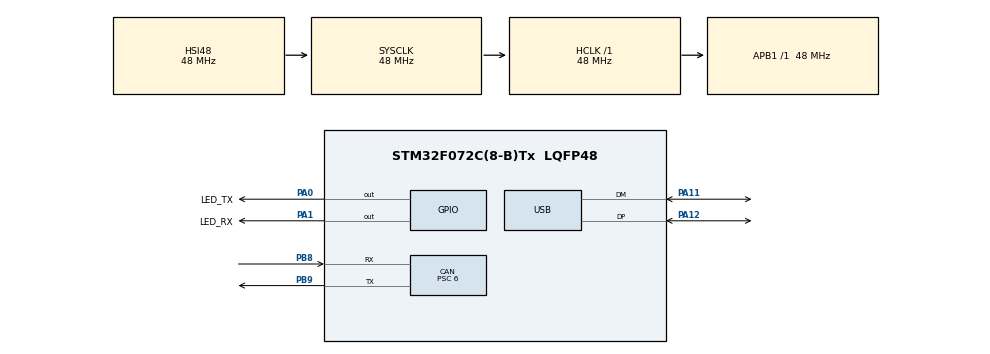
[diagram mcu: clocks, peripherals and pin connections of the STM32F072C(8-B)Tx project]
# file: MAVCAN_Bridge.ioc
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CAN.ABOM=ENABLE
CAN.BS1=CAN_BS1_5TQ
CAN.BS2=CAN_BS2_2TQ
CAN.CalculateBaudRate=1000000
CAN.CalculateTimeBit=1000
CAN.CalculateTimeQuantum=125.0
CAN.NART=DISABLE
CAN.Prescaler=6
CAN.TXFP=ENABLE
Mcu.Family=STM32F0
Mcu.Name=STM32F072C(8-B)Tx
Mcu.Package=LQFP48
NVIC.CEC_CAN_IRQn=true\:2\:0\:true\:false\:true\:true\:true\:true
NVIC.TIM1_BRK_UP_TRG_COM_IRQn=true\:3\:0\:false\:false\:true\:false\:true\:true
NVIC.TimeBase=TIM1_BRK_UP_TRG_COM_IRQn
NVIC.TimeBaseIP=TIM1
NVIC.USB_IRQn=true\:2\:0\:true\:false\:true\:false\:true\:true
PA0.GPIO_Label=LED_TX
PA0.Signal=GPIO_Output
PA1.GPIO_Label=LED_RX
PA1.Signal=GPIO_Output
PA11.Mode=Device
PA11.Signal=USB_DM
PA12.Mode=Device
PA12.Signal=USB_DP
PA13.Mode=Serial_Wire
PA13.Signal=SYS_SWDIO
PA14.Mode=Serial_Wire
PA14.Signal=SYS_SWCLK
PB8.Mode=CAN_Activate
PB8.Signal=CAN_RX
PB9.Mode=CAN_Activate
PB9.Signal=CAN_TX
ProjectManager.HeapSize=0x200
ProjectManager.StackSize=0x400
ProjectManager.TargetToolchain=CMake
RCC.AHBFreq_Value=48000000
RCC.APB1Freq_Value=48000000
RCC.APB1TimFreq_Value=48000000
RCC.HCLKFreq_Value=48000000
RCC.SYSCLKFreq_VALUE=48000000
RCC.SYSCLKSource=RCC_SYSCLKSOURCE_HSI48
USB_DEVICE.CLASS_NAME_FS=CDC
USB_DEVICE.CONFIGURATION_STRING_CDC_FS=Mavlink-CAN Config
USB_DEVICE.INTERFACE_STRING_CDC_FS=Mavlink-CAN Interface
USB_DEVICE.MANUFACTURER_STRING=Vimdrones Inc Limited
USB_DEVICE.PID_CDC_FS=0x5738
USB_DEVICE.PRODUCT_STRING_CDC_FS=MAVCAN USB Bridge
USB_DEVICE.VID=0x1209
USB_DEVICE.VirtualMode=Cdc
USB_DEVICE.VirtualModeFS=Cdc_FS
VP_SYS_VS_tim1.Mode=TIM1
VP_USB_DEVICE_VS_USB_DEVICE_CDC_FS.Mode=CDC_FS
board=custom

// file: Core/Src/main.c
/* USER CODE BEGIN Header */
/**
  ******************************************************************************
  *
  * Copyright (c) 2025 Vimdrones.
  * All rights reserved.
  *
  * @author         : Huibean Luo
  * @email          : huibean.luo@vimdrones.com
  *
  ******************************************************************************
  */
/* USER CODE END Header */
#include "main.h"
#include "usb_device.h"

/* USER CODE BEGIN Includes */
#include <mavlink.h>
#include "app_config.h" // Include the shared config file
#include "usbd_cdc_if.h" // Add this line for CDC functions
// #include <dronecan_msgs.h>
extern USBD_HandleTypeDef hUsbDeviceFS;
/* USER CODE END Includes */

/* USER CODE BEGIN PD */

// Define a short timeout for waiting on TX mailbox
#define CAN_TX_TIMEOUT_MS 5
/* USER CODE END PD */

CAN_HandleTypeDef hcan;

/* USER CODE BEGIN PV */
// MAVLink variables
uint8_t mav_system_id = 1;
uint8_t mav_component_id = 1;

// Heartbeat tracking
uint32_t last_heartbeat_time = 0;
uint32_t heartbeat_interval = 1000; // 1Hz heartbeat
uint32_t heartbeats_sent = 0;

// USB ring buffer for reliable Windows reception
typedef struct {
  uint8_t data[USB_RX_PACKET_SIZE];
  uint32_t len;
} usb_packet_t;

usb_packet_t usb_rx_ring[USB_RX_RING_SIZE];
volatile uint8_t usb_rx_write_idx = 0;
volatile uint8_t usb_rx_read_idx = 0;
volatile uint8_t usb_rx_packets = 0;

volatile uint32_t usb_process_interval;
volatile uint32_t last_usb_process_time = 0;

// CAN frame structure
typedef struct {
  uint32_t id;        // CAN frame ID (standard or extended)
  uint8_t is_extended; // Flag for extended ID
  uint8_t is_rtr;     // Flag for remote transmission request
  uint8_t dlc;        // Data length code (0-8)
  uint8_t data[8];    // CAN frame data
} can_frame_t;

// Ring buffers for CAN frames
#define CAN_BUFFER_SIZE 128
volatile can_frame_t can_rx_buffer[CAN_BUFFER_SIZE];
volatile uint8_t can_rx_write_idx = 0;
volatile uint8_t can_rx_read_idx = 0;
volatile uint8_t can_rx_count = 0;

volatile can_frame_t can_tx_buffer[CAN_BUFFER_SIZE];
volatile uint8_t can_tx_write_idx = 0;
volatile uint8_t can_tx_read_idx = 0;
volatile uint8_t can_tx_count = 0;

// Processing flags
volatile uint8_t usb_to_can_pending = 0;
volatile uint8_t can_to_usb_pending = 0;

// Status tracking
uint32_t rx_frames_count = 0;
uint32_t tx_frames_count = 0;
uint32_t mavlink_rx_count = 0;
uint32_t mavlink_tx_count = 0;
uint32_t buffer_overflow_count = 0;

/* USER CODE END PV */

void SystemClock_Config(void);
static void MX_GPIO_Init(void);
static void MX_CAN_Init(void);
/* USER CODE BEGIN PFP */
uint32_t ProcessUSBtoCAN(void);
uint32_t ProcessCANtoUSB(void);
uint32_t SendCAN(void);
void SendMavlinkHeartbeat(void);
/* USER CODE END PFP */

/* USER CODE BEGIN 0 */
// Pre-compute MAVLink CRC tables for better performance
static void mavlink_init_crc_tables(void) {
  // Initialize MAVLink CRC tables - forces table creation at startup instead of runtime
  uint16_t dummy_crc = crc_calculate((uint8_t*)"test", 4);
  (void)dummy_crc; // Prevent unused variable warning
}
/* USER CODE END 0 */

int main(void)
{

  /* MCU Configuration--------------------------------------------------------*/

  /* Reset of all peripherals, Initializes the Flash interface and the Systick. */
  HAL_Init();

  /* Configure the system clock */
  SystemClock_Config();

  /* Initialize all configured peripherals */
  MX_GPIO_Init();
  MX_CAN_Init();
  MX_USB_DEVICE_Init();
  /* USER CODE BEGIN 2 */
  // Precompute MAVLink CRC tables
  mavlink_init_crc_tables();

  // Rest of initialization...
  // Enable CAN interrupts
  if (HAL_CAN_Start(&hcan) != HAL_OK) {
    Error_Handler();
  }

  // Activate CAN RX notification
  if (HAL_CAN_ActivateNotification(&hcan, CAN_IT_RX_FIFO0_MSG_PENDING) != HAL_OK) {
    Error_Handler();
  }

  // Initialize ring buffers
  can_rx_write_idx = 0;
  can_rx_read_idx = 0;
  can_tx_write_idx = 0;
  can_tx_read_idx = 0;

  // The CDC middleware prepares reception when the host configures USB.
  /* USER CODE END 2 */

  /* Infinite loop */
  while (1)
  {

    /* USER CODE BEGIN 3 */
    // Get current time once per loop
    uint32_t current_time = HAL_GetTick();

    // Retry a paused receive after space or the USB configured state returns.
    CDC_ResumeReceive_FS();

    // Process USB data when available
    while (usb_rx_packets > 0) {
        ProcessUSBtoCAN();

        // Send frames immediately after processing
        if (can_tx_count > 0) {
            SendCAN(); // Send one frame immediately
        }
    }

    // Process CAN TX queue - up to 8 frames at once
    if (can_tx_count > 0) {
        for (int i = 0; i < 8 && can_tx_count > 0; i++) {
            uint32_t sent = SendCAN();
            if (sent == 0) break;
        }
    }

    // Send MAVLink heartbeat at 1Hz
    if (current_time - last_heartbeat_time >= heartbeat_interval) {
      SendMavlinkHeartbeat();
      last_heartbeat_time = current_time;
    }

    // Process CAN RX with lowest priority
    if (can_rx_count > 0) {
      ProcessCANtoUSB();
    }
  }
  /* USER CODE END 3 */
}

void SystemClock_Config(void)
{
  RCC_OscInitTypeDef RCC_OscInitStruct = {0};
  RCC_ClkInitTypeDef RCC_ClkInitStruct = {0};
  RCC_PeriphCLKInitTypeDef PeriphClkInit = {0};

  /** Initializes the RCC Oscillators according to the specified parameters
  * in the RCC_OscInitTypeDef structure.
  */
  RCC_OscInitStruct.OscillatorType = RCC_OSCILLATORTYPE_HSI48;
  RCC_OscInitStruct.HSI48State = RCC_HSI48_ON;
  RCC_OscInitStruct.PLL.PLLState = RCC_PLL_NONE;
  if (HAL_RCC_OscConfig(&RCC_OscInitStruct) != HAL_OK)
  {
    Error_Handler();
  }

  /** Initializes the CPU, AHB and APB buses clocks
  */
  RCC_ClkInitStruct.ClockType = RCC_CLOCKTYPE_HCLK|RCC_CLOCKTYPE_SYSCLK
                              |RCC_CLOCKTYPE_PCLK1;
  RCC_ClkInitStruct.SYSCLKSource = RCC_SYSCLKSOURCE_HSI48;
  RCC_ClkInitStruct.AHBCLKDivider = RCC_SYSCLK_DIV1;
  RCC_ClkInitStruct.APB1CLKDivider = RCC_HCLK_DIV1;

  if (HAL_RCC_ClockConfig(&RCC_ClkInitStruct, FLASH_LATENCY_1) != HAL_OK)
  {
    Error_Handler();
  }
  PeriphClkInit.PeriphClockSelection = RCC_PERIPHCLK_USB;
  PeriphClkInit.UsbClockSelection = RCC_USBCLKSOURCE_HSI48;

  if (HAL_RCCEx_PeriphCLKConfig(&PeriphClkInit) != HAL_OK)
  {
    Error_Handler();
  }
}

static void MX_CAN_Init(void)
{

  hcan.Instance = CAN;
  hcan.Init.Prescaler = 6;
  hcan.Init.Mode = CAN_MODE_NORMAL;
  hcan.Init.SyncJumpWidth = CAN_SJW_1TQ;
  hcan.Init.TimeSeg1 = CAN_BS1_5TQ;
  hcan.Init.TimeSeg2 = CAN_BS2_2TQ;
  hcan.Init.TimeTriggeredMode = DISABLE;
  hcan.Init.AutoBusOff = ENABLE;
  hcan.Init.AutoWakeUp = DISABLE;
  hcan.Init.AutoRetransmission = DISABLE;
  hcan.Init.ReceiveFifoLocked = DISABLE;
  hcan.Init.TransmitFifoPriority = ENABLE;
  if (HAL_CAN_Init(&hcan) != HAL_OK)
  {
    Error_Handler();
  }
  /* USER CODE BEGIN CAN_Init 2 */
  // Configure CAN filter to accept all messages
  CAN_FilterTypeDef canFilterConfig;
  canFilterConfig.FilterBank = 0;
  canFilterConfig.FilterMode = CAN_FILTERMODE_IDMASK;
  canFilterConfig.FilterScale = CAN_FILTERSCALE_32BIT;
  canFilterConfig.FilterIdHigh = 0;
  canFilterConfig.FilterIdLow = 0;
  canFilterConfig.FilterMaskIdHigh = 0;
  canFilterConfig.FilterMaskIdLow = 0;
  canFilterConfig.FilterFIFOAssignment = CAN_FILTER_FIFO0;
  canFilterConfig.FilterActivation = ENABLE;

  if (HAL_CAN_ConfigFilter(&hcan, &canFilterConfig) != HAL_OK)
  {
    Error_Handler();
  }
  /* USER CODE END CAN_Init 2 */

}

static void MX_GPIO_Init(void)
{
  GPIO_InitTypeDef GPIO_InitStruct = {0};

  /* GPIO Ports Clock Enable */
  __HAL_RCC_GPIOA_CLK_ENABLE();
  __HAL_RCC_GPIOB_CLK_ENABLE();

  /*Configure GPIO pin Output Level */
  HAL_GPIO_WritePin(GPIOA, LED_TX_Pin|LED_RX_Pin, GPIO_PIN_RESET);

  /*Configure GPIO pins : LED_TX_Pin LED_RX_Pin */
  GPIO_InitStruct.Pin = LED_TX_Pin|LED_RX_Pin;
  GPIO_InitStruct.Mode = GPIO_MODE_OUTPUT_PP;
  GPIO_InitStruct.Pull = GPIO_NOPULL;
  GPIO_InitStruct.Speed = GPIO_SPEED_FREQ_LOW;
  HAL_GPIO_Init(GPIOA, &GPIO_InitStruct);

}

/* USER CODE BEGIN 4 */
/**
 * @brief CAN RX FIFO 0 callback
 * @param hcan: CAN handle pointer
 */
void HAL_CAN_RxFifo0MsgPendingCallback(CAN_HandleTypeDef *hcan)
{
  CAN_RxHeaderTypeDef rxHeader;
  uint8_t rxData[8];

  // Get the message from CAN FIFO
  if (HAL_CAN_GetRxMessage(hcan, CAN_RX_FIFO0, &rxHeader, rxData) == HAL_OK) {
    // Check if there's space in the buffer
    if (can_rx_count < CAN_BUFFER_SIZE) {
      // Store the frame in the circular buffer
      can_frame_t *frame = (can_frame_t *)&can_rx_buffer[can_rx_write_idx];

      // Extract ID information
      if (rxHeader.IDE == CAN_ID_STD) {
        frame->id = rxHeader.StdId;
        frame->is_extended = 0;
      } else {
        frame->id = rxHeader.ExtId;
        frame->is_extended = 1;
      }

      // Extract RTR flag and data
      frame->is_rtr = (rxHeader.RTR == CAN_RTR_REMOTE) ? 1 : 0;
      frame->dlc = rxHeader.DLC;

      if (rxHeader.RTR != CAN_RTR_REMOTE) {
        memcpy((void*)frame->data, rxData, frame->dlc);
      }

      // Update indexes and counter with atomic operations
      __disable_irq();
      can_rx_write_idx = (can_rx_write_idx + 1) % CAN_BUFFER_SIZE;
      can_rx_count++;
      can_to_usb_pending = 1;
      __enable_irq();

      // Toggle LED to indicate reception
      HAL_GPIO_TogglePin(GPIOA, LED_RX_Pin);
      rx_frames_count++;
    } else {
      // Buffer is full
      buffer_overflow_count++;
    }
  }
}

/**
 * @brief Process USB to CAN data
 * @retval Number of processed bytes
 */
uint32_t ProcessUSBtoCAN(void)
{
  static mavlink_message_t msg;
  static mavlink_status_t status;
  uint32_t processed = 0;

  // USB reset/deinit can clear the queue, so check and dequeue atomically.
  usb_packet_t packet;
  uint32_t primask = __get_PRIMASK();
  __disable_irq();
  if (usb_rx_packets == 0) {
    __set_PRIMASK(primask);
    return 0;
  }
  memcpy(&packet, (void*)&usb_rx_ring[usb_rx_read_idx], sizeof(usb_packet_t));
  usb_rx_read_idx = (usb_rx_read_idx + 1) % USB_RX_RING_SIZE;
  usb_rx_packets--;
  __set_PRIMASK(primask);

  CDC_ResumeReceive_FS();

  uint32_t bytes = packet.len;

  // Process in chunks for cache efficiency
  for (uint32_t i = 0; i < bytes; ) {
    // Process up to 16 bytes at once
    uint32_t chunk_end = i + 16;
    if (chunk_end > bytes) chunk_end = bytes;

    for (; i < chunk_end; i++) {
      if (mavlink_parse_char(MAVLINK_COMM_0, packet.data[i], &msg, &status)) {
        mavlink_rx_count++;

        if (msg.msgid == MAVLINK_MSG_ID_CAN_FRAME) {
          // Extract directly to minimize copies
          mavlink_can_frame_t can_frame;
          mavlink_msg_can_frame_decode(&msg, &can_frame);

          if (can_tx_count < CAN_BUFFER_SIZE) {
            uint8_t idx = can_tx_write_idx;
            volatile can_frame_t *frame = &can_tx_buffer[idx];

            // Fast extractions
            frame->id = can_frame.id & 0x1FFFFFFF;
            frame->is_extended = (can_frame.id & 0x80000000) ? 1 : 0;
            frame->is_rtr = (can_frame.id & 0x40000000) ? 1 : 0;
            frame->dlc = can_frame.len <= 8 ? can_frame.len : 8;

            if (!frame->is_rtr && frame->dlc > 0) {
              // Direct memcpy to avoid for loop
              memcpy((void*)frame->data, can_frame.data, frame->dlc);
            }

            // Preserve the caller's interrupt state while publishing the frame.
            uint32_t can_primask = __get_PRIMASK();
            __disable_irq();
            can_tx_write_idx = (idx + 1) % CAN_BUFFER_SIZE;
            can_tx_count++;
            __set_PRIMASK(can_primask);
          }
        }
      }
    }
  }

  processed = bytes;
  return processed;
}

/**
 * @brief Process CAN to USB data
 * @retval Number of frames processed
 */
uint32_t ProcessCANtoUSB(void)
{
  uint32_t processed = 0;
  mavlink_message_t msg;
  uint8_t mavlink_buffer[MAVLINK_MAX_PACKET_LEN];

  // Process all available CAN frames
  while (can_rx_count > 0) {
    can_frame_t frame;

    // Get the frame from the buffer atomically
    __disable_irq();
    memcpy(&frame, (void*)&can_rx_buffer[can_rx_read_idx], sizeof(can_frame_t));
    can_rx_read_idx = (can_rx_read_idx + 1) % CAN_BUFFER_SIZE;
    can_rx_count--;
    __enable_irq();

    // Create MAVLink CAN_FRAME message
    uint32_t frame_id = frame.id;

    // Add extended ID flag if needed
    if (frame.is_extended) {
      frame_id |= 0x80000000;
    }

    // Add RTR flag if needed
    if (frame.is_rtr) {
      frame_id |= 0x40000000;
    }

    // Pack the MAVLink message
    mavlink_msg_can_frame_pack(
      mav_system_id,
      mav_component_id,
      &msg,
      0,
      0,
      0,
      frame.dlc,
      frame_id,
      frame.data
    );

    // Get the buffer to send
    uint16_t mavlink_len = mavlink_msg_to_send_buffer(mavlink_buffer, &msg);

    // Send over USB
    if (USBD_STATE_CONFIGURED == hUsbDeviceFS.dev_state) {
      if (CDC_Transmit_FS(mavlink_buffer, mavlink_len) == USBD_OK) {
        mavlink_tx_count++;
      }
    }

    processed++;
  }

  return processed;
}

/**
 * @brief Hyper-optimized CAN transmission function for 400+ FPS
 * @retval Number of frames sent
 */
uint32_t SendCAN(void)
{
  uint32_t sent = 0;

  // Maximum burst for high throughput
  for (uint32_t attempt = 0; attempt < 32 && can_tx_count > 0; attempt++) {
    // Fast register check for available mailboxes
    uint32_t tsr = hcan.Instance->TSR;

    // No mailboxes available - exit immediately
    if ((tsr & (CAN_TSR_TME0 | CAN_TSR_TME1 | CAN_TSR_TME2)) == 0) {
      break;
    }

    // Select mailbox with lowest index (highest priority)
    uint8_t mailbox =
      (tsr & CAN_TSR_TME0) ? 0 :
      (tsr & CAN_TSR_TME1) ? 1 : 2;

    // Extract frame atomically with minimal critical section
    can_frame_t frame;
    __disable_irq();
    memcpy(&frame, (void*)&can_tx_buffer[can_tx_read_idx], sizeof(can_frame_t));
    can_tx_read_idx = (can_tx_read_idx + 1) % CAN_BUFFER_SIZE;
    can_tx_count--;
    __enable_irq();

    // Prepare TIR register value outside the register write
    uint32_t tir = 0;
    if (frame.is_extended) {
      tir = ((frame.id << 3) | CAN_TI0R_IDE);
    } else {
      tir = (frame.id << 21);
    }
    if (frame.is_rtr) {
      tir |= CAN_TI0R_RTR;
    }

    // Write registers in one shot each
    hcan.Instance->sTxMailBox[mailbox].TDTR = frame.dlc;
    hcan.Instance->sTxMailBox[mailbox].TDLR =
      ((uint32_t)frame.data[3] << 24) |
      ((uint32_t)frame.data[2] << 16) |
      ((uint32_t)frame.data[1] << 8) |
      ((uint32_t)frame.data[0]);
    hcan.Instance->sTxMailBox[mailbox].TDHR =
      ((uint32_t)frame.data[7] << 24) |
      ((uint32_t)frame.data[6] << 16) |
      ((uint32_t)frame.data[5] << 8) |
      ((uint32_t)frame.data[4]);

    // Write TIR last with TXRQ bit to trigger transmission
    hcan.Instance->sTxMailBox[mailbox].TIR = tir | CAN_TI0R_TXRQ;

    sent++;
    tx_frames_count++;
    HAL_GPIO_TogglePin(GPIOA, LED_TX_Pin);
  }

  return sent;
}

/**
 * @brief CAN Error callback for high-speed operation
 */
void HAL_CAN_ErrorCallback(CAN_HandleTypeDef *hcan)
{
  uint32_t error = HAL_CAN_GetError(hcan);

  // Only reset on bus-off error to avoid losing time on minor errors
  if (error & HAL_CAN_ERROR_BOF) {
    HAL_CAN_ResetError(hcan);
    HAL_CAN_Start(hcan);
    HAL_CAN_ActivateNotification(hcan, CAN_IT_RX_FIFO0_MSG_PENDING);
  }
}

/**
 * @brief Send MAVLink heartbeat message
 */
void SendMavlinkHeartbeat(void)
{
  mavlink_message_t msg;
  uint8_t buffer[MAVLINK_MAX_PACKET_LEN];

  // Pack heartbeat message
  // Parameters: system_id, component_id, msg, type, autopilot, base_mode, custom_mode, system_status
  mavlink_msg_heartbeat_pack(
    mav_system_id,
    mav_component_id,
    &msg,
    MAV_TYPE_ONBOARD_CONTROLLER, // Type of the component
    MAV_AUTOPILOT_INVALID,       // Autopilot type (not applicable)
    0,                           // System mode
    0,                           // Custom mode
    MAV_STATE_ACTIVE             // System state (active)
  );

  // Convert message to buffer
  uint16_t len = mavlink_msg_to_send_buffer(buffer, &msg);

  // Send message if USB is ready
  if (USBD_STATE_CONFIGURED == hUsbDeviceFS.dev_state) {
    if (CDC_Transmit_FS(buffer, len) == USBD_OK) {
      heartbeats_sent++;
      mavlink_tx_count++;  // Count as normal MAVLink TX
    }
  }
}
/* USER CODE END 4 */

void HAL_TIM_PeriodElapsedCallback(TIM_HandleTypeDef *htim)
{
  if (htim->Instance == TIM1)
  {
    HAL_IncTick();
  }
}

void Error_Handler(void)
{
  __disable_irq();
  while (1)
  {
  }
}
